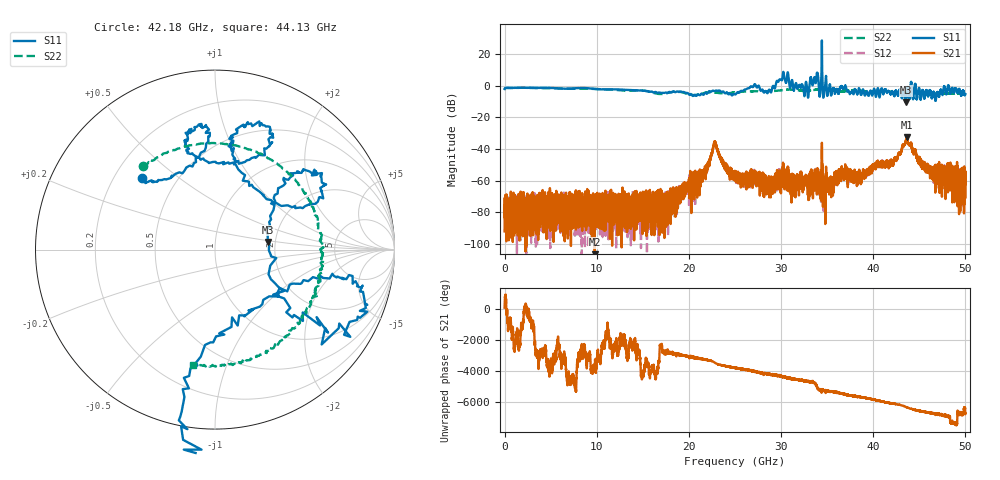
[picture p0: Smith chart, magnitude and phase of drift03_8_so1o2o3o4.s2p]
!Created with skrf (http://scikit-rf.org).
# Hz S RI R 50.0
!freq ReS11 ImS11 ReS21 ImS21 ReS12 ImS12 ReS22 ImS22
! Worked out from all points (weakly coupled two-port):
!   10000 points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, 5.3 MHz to 50 GHz, reference 50 ohm
!   highest |S21| = -32.67 dB at 43.64 GHz (marker M1); lowest = -112.5 dB at 9.785 GHz (marker M2)
!   lowest |S11| = -10.5 dB at 43.52 GHz (marker M3), VSWR 1.85, Z = 91.1 + j8.61 ohm
!   |S11| at or under -10 dB: 43.50785 GHz to 43.54031 GHz (32.46 MHz wide, 0.0746 % of centre)
!   |S22| runs from -6.0 to -1.3 dB; largest |S21 - S12| = 0.0065
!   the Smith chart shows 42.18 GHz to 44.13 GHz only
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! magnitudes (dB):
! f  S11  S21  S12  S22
! 5.3 MHz  -2.1  -92.1  -76.4  -2.1
! 8.34 GHz  -1.5  -81.8  -78.0  -1.9
! 9.785 GHz  -2.0  -112.5  -93.8  -2.1
! 16.67 GHz  -4.4  -70.4  -78.1  -5.2
! 21.07 GHz  -5.7  -69.0  -60.0  -5.5
! 22 GHz  -4.8  -52.2  -50.8  -4.3
! 22.82 GHz  -3.4  -35.2  -35.3  -4.5
! 25.01 GHz  -5.5  -57.0  -57.6  -4.2
! 27.02 GHz  -0.4  -58.8  -59.1  -3.6
! 28.82 GHz  -3.4  -60.5  -65.0  -3.5
! 30.14 GHz  4.3  -55.9  -56.5  -2.8
! 32.74 GHz  2.1  -57.7  -59.9  -3.4
! 33.34 GHz  2.5  -53.8  -54.0  -2.9
! 33.82 GHz  3.8  -63.5  -60.9  -2.6
! 34.83 GHz  2.6  -67.8  -63.7  -2.3
! 36.52 GHz  -0.4  -53.9  -54.5  -3.6
! 38.09 GHz  -2.7  -57.7  -56.7  -2.8
! 41.67 GHz  -3.5  -49.3  -50.1  -3.8
! 43.52 GHz  -10.5  -35.3  -35.7  -4.3
! 43.64 GHz  -2.1  -32.7  -33.4  -4.1
! 46.36 GHz  -7.7  -53.9  -54.6  -5.4
! 50 GHz  -5.3  -62.1  -58.5  -5.0
